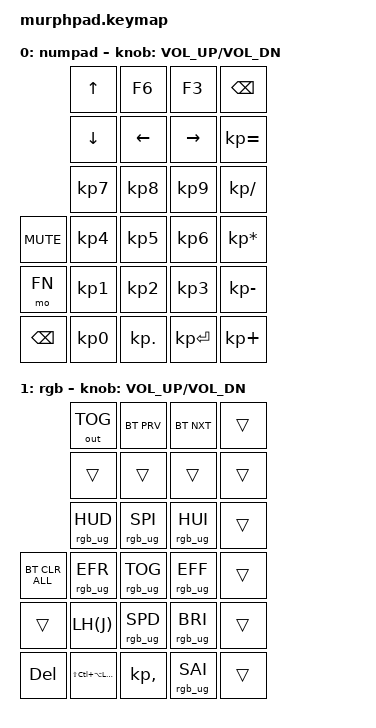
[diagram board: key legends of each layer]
/*
 * Copyright (c) 2021 Kyle McCreery
 *
 * SPDX-License-Identifier: MIT
 */

#include <behaviors.dtsi>
#include <dt-bindings/zmk/keys.h>
#include <dt-bindings/zmk/bt.h>
#include <dt-bindings/zmk/outputs.h>
#include <dt-bindings/zmk/rgb.h>

#define TIMEOUT 300

/* Layer Names*/
#define DEFAULT 0
#define FN      1

#define LEFT_HYPER LS(LC(LA(LGUI)))
#define LH(key) LS(LC(LA(LG(key))))

&encoder_1 {
    status = "okay";
};

/* Combo Definitions*/
/ {
    combos {
        compatible = "zmk,combos";
        combo_btclr {
            timeout-ms = <TIMEOUT>;
            key-positions = <1 6>;
            bindings = <&bt BT_CLR>;
        };
        combo_reset {
            timeout-ms = <TIMEOUT>;
            key-positions = <1 3>;
            bindings = <&sys_reset>;
        };
        combo_bootloader {
            timeout-ms = <TIMEOUT>;
            key-positions = <0 3>;
            bindings = <&bootloader>;
        };
        combo_bt_nxt {
            timeout-ms = <TIMEOUT>;
            key-positions = <1 4>;
            bindings = <&bt BT_NXT>;
        };
    };

    sensors {
        compatible = "zmk,keymap-sensors";
        sensors = <&encoder_1>;
    };


    keymap0: keymap {
        compatible = "zmk,keymap";

        default_layer {
        label = "numpad";
            bindings = <
                            &kp UP       &kp F6          &kp F3            &kp BSPC
                            &kp DOWN     &kp LEFT        &kp RIGHT         &kp KP_EQUAL
                            &kp KP_N7    &kp KP_N8       &kp KP_N9         &kp KP_DIVIDE
                &kp C_MUTE  &kp KP_N4    &kp KP_N5       &kp KP_N6         &kp KP_MULTIPLY
                &mo FN      &kp KP_N1    &kp KP_N2       &kp KP_N3         &kp KP_MINUS
                &kp BSPC    &kp KP_N0    &kp KP_DOT      &kp KP_ENTER      &kp KP_PLUS
            >;
            sensor-bindings = <&inc_dec_kp C_VOL_UP C_VOL_DN>;

        };

        fn_layer {
        label = "rgb";
            bindings = <
                                &out OUT_TOG     &bt BT_PRV       &bt BT_NXT       &trans
                                &trans           &trans           &trans           &trans
                                &rgb_ug RGB_HUD  &rgb_ug RGB_SPI  &rgb_ug RGB_HUI  &trans
                &bt BT_CLR_ALL  &rgb_ug RGB_EFR  &rgb_ug RGB_TOG  &rgb_ug RGB_EFF  &trans
                &trans          &kp LH(J)  &rgb_ug RGB_SPD  &rgb_ug RGB_BRI  &trans
                &kp DEL         &kp LEFT_HYPER  &kp KP_COMMA     &rgb_ug RGB_SAI  &trans
            >;
            sensor-bindings = <&inc_dec_kp C_VOL_UP C_VOL_DN>;

        };
    };
};
